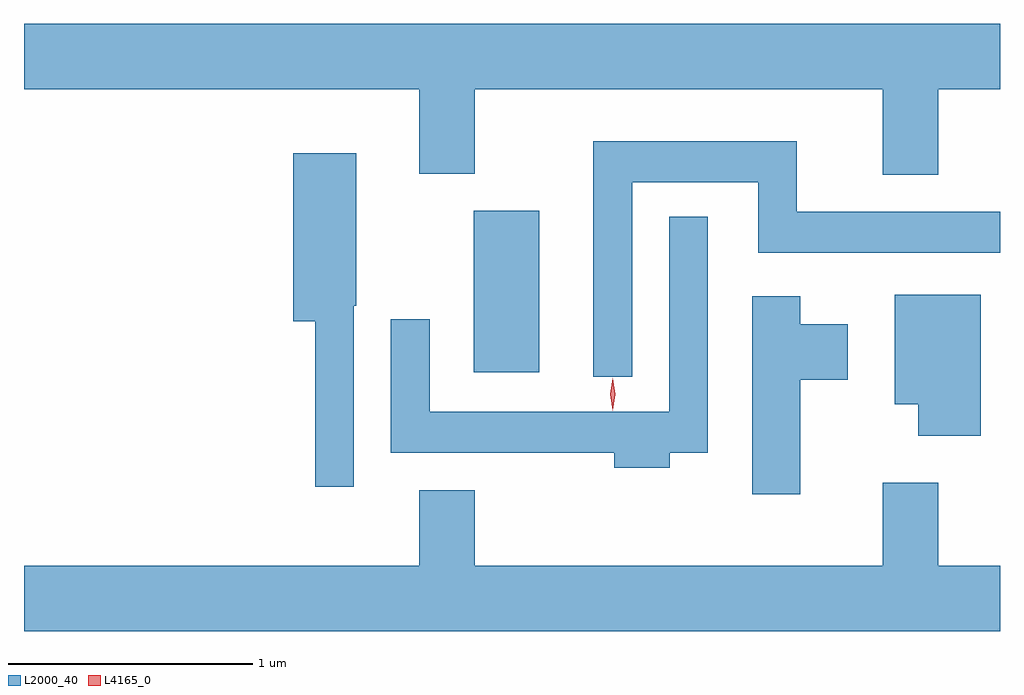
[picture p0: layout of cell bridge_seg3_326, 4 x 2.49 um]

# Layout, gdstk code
import gdstk
lib = gdstk.Library(unit=1e-6, precision=1e-09)
def R(c, l, rs):  # rectangles x0, y0, x1, y1
    for r in rs: c.add(gdstk.rectangle(r[:2], r[2:], *l))
def P(c, l, *ps):  # polygons
    for p in ps: c.add(gdstk.Polygon(p, *l))
L2000_40 = (2000, 40)
L4165_0 = (4165, 0)

bridge_seg3_326 = lib.new_cell('bridge_seg3_326')
R(bridge_seg3_326, L2000_40, [(527.176,1167.036,527.444,1167.699)])
P(bridge_seg3_326, L2000_40, [(529.079,1168.196),(529.332,1168.196),(529.332,1168.464),(525.332,1168.464),(525.332,1168.196),(526.951,1168.196),(526.951,1167.851),(527.179,1167.851),(527.179,1168.196),(528.851,1168.196),(528.851,1167.846),(529.079,1167.846)],
  [(527.824,1167.816),(528.341,1167.816),(528.341,1167.526),(529.332,1167.526),(529.332,1167.694),(528.499,1167.694),(528.499,1167.984),(527.666,1167.984),(527.666,1167.018),(527.824,1167.018)],
  [(526.684,1167.31),(526.694,1167.31),(526.694,1167.934),(526.436,1167.934),(526.436,1167.246),(526.526,1167.246),(526.526,1166.568),(526.684,1166.568)],
  [(527.979,1166.706),(528.134,1166.706),(528.134,1167.673),(527.976,1167.673),(527.976,1166.874),(526.994,1166.874),(526.994,1167.253),(526.836,1167.253),(526.836,1166.706),(527.751,1166.706),(527.751,1166.646),(527.979,1166.646)],
  [(529.254,1167.354),(528.901,1167.354),(528.901,1166.906),(528.996,1166.906),(528.996,1166.776),(529.254,1166.776)],
  [(528.514,1167.006),(528.709,1167.006),(528.709,1167.234),(528.514,1167.234),(528.514,1167.349),(528.316,1167.349),(528.316,1166.536),(528.514,1166.536)],
  [(529.332,1166.244),(529.079,1166.244),(529.079,1166.584),(528.851,1166.584),(528.851,1166.244),(527.179,1166.244),(527.179,1166.554),(526.951,1166.554),(526.951,1166.244),(525.332,1166.244),(525.332,1165.976),(529.332,1165.976)])
P(bridge_seg3_326, L4165_0, [(527.745,1166.879),(527.744,1166.88),(527.735,1166.946),(527.744,1167.012),(527.745,1167.013),(527.745,1167.012),(527.755,1166.946),(527.745,1166.88)])

lib.write_gds('bridge_seg3_326.gds')
